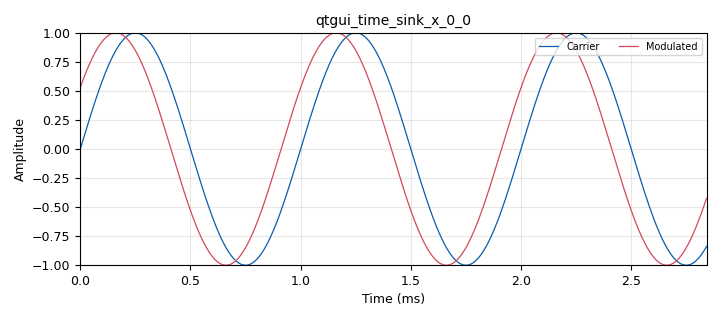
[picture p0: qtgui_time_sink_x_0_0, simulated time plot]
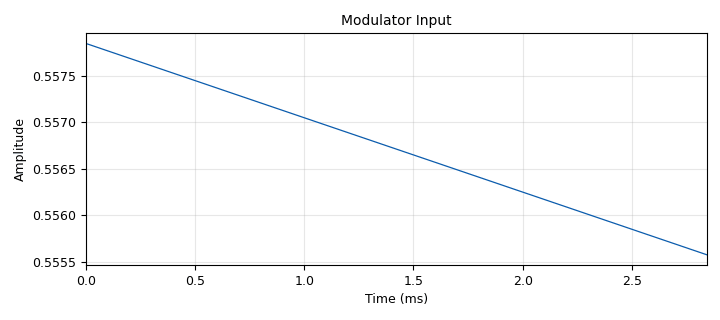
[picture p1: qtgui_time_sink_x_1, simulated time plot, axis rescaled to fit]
options:
  parameters:
    category: Custom
    generate_options: qt_gui
    id: phase_mod
    output_language: python
  states: {}

blocks:
- name: samp_rate
  id: variable
  parameters:
    value: 360e3
  states: {}
- name: sensitivity
  id: variable_qtgui_entry
  parameters:
    type: real
    value: '1'
  states: {}
- name: analog_phase_modulator_fc_0
  id: analog_phase_modulator_fc
  parameters:
    comment: Modulator
    sensitivity: sensitivity
  states: {}
- name: analog_sig_source_x_0
  id: analog_sig_source_x
  parameters:
    amp: '2'
    comment: |-
      Baseband
      signal
    freq: '.2'
    offset: '-1'
    phase: '0'
    samp_rate: samp_rate
    type: float
    waveform: analog.GR_TRI_WAVE
  states: {}
- name: analog_sig_source_x_1
  id: analog_sig_source_x
  parameters:
    amp: '1'
    comment: Carrier
    freq: '1000'
    offset: '0'
    phase: '0'
    samp_rate: samp_rate
    type: complex
    waveform: analog.GR_COS_WAVE
  states: {}
- name: blocks_complex_to_real_0
  id: blocks_complex_to_real
  parameters: {}
  states: {}
- name: blocks_complex_to_real_0_0
  id: blocks_complex_to_real
  parameters: {}
  states: {}
- name: blocks_multiply_xx_0
  id: blocks_multiply_xx
  parameters:
    type: complex
  states: {}
- name: blocks_throttle2_0
  id: blocks_throttle2
  parameters:
    samples_per_second: samp_rate
    type: float
  states: {}
- name: qtgui_time_sink_x_0_0
  id: qtgui_time_sink_x
  parameters:
    label1: Carrier
    label2: Modulated
    nconnections: '2'
    size: '1024'
    srate: samp_rate
    tr_mode: qtgui.TRIG_MODE_AUTO
    type: float
  states: {}
- name: qtgui_time_sink_x_1
  id: qtgui_time_sink_x
  parameters:
    label1: ''
    name: '"Modulator Input"'
    size: '1024'
    srate: samp_rate
    type: float
  states: {}

connections:
- [analog_phase_modulator_fc_0, '0', blocks_multiply_xx_0, '1']
- [analog_sig_source_x_0, '0', blocks_throttle2_0, '0']
- [analog_sig_source_x_0, '0', qtgui_time_sink_x_1, '0']
- [analog_sig_source_x_1, '0', blocks_complex_to_real_0_0, '0']
- [analog_sig_source_x_1, '0', blocks_multiply_xx_0, '0']
- [blocks_complex_to_real_0, '0', qtgui_time_sink_x_0_0, '1']
- [blocks_complex_to_real_0_0, '0', qtgui_time_sink_x_0_0, '0']
- [blocks_multiply_xx_0, '0', blocks_complex_to_real_0, '0']
- [blocks_throttle2_0, '0', analog_phase_modulator_fc_0, '0']

metadata:
  file_format: 1
  grc_version: 3.10.9.2
